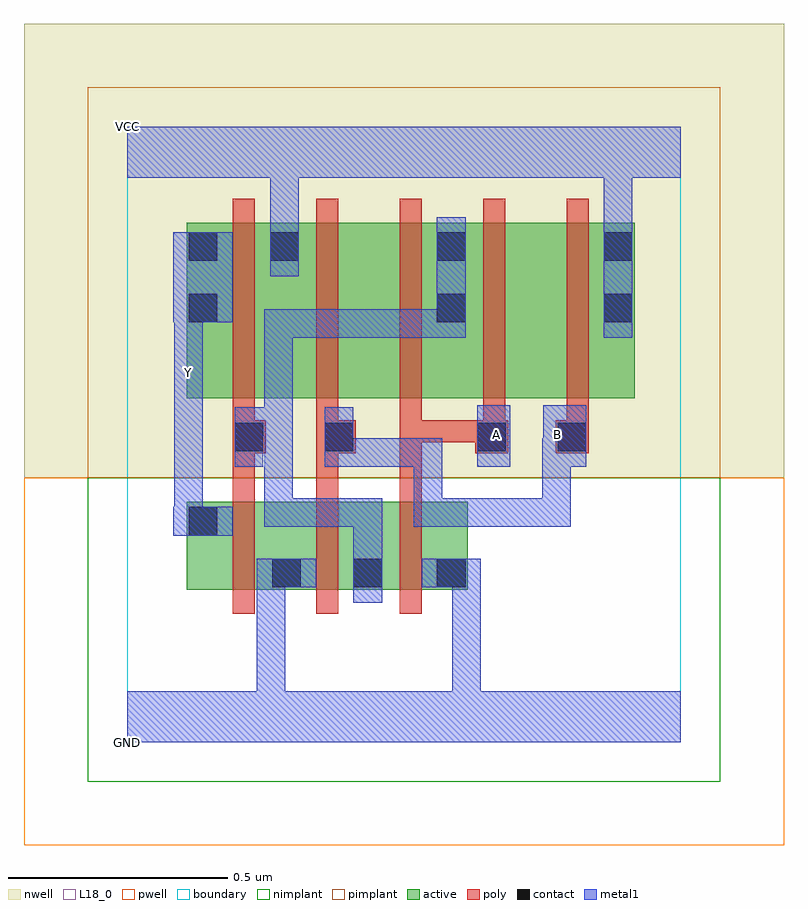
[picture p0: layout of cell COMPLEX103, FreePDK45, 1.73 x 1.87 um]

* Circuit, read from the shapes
.subckt COMPLEX103 A B GND VCC Y
M1 GND n1 Y VSUBS nfet w=0.2u l=0.05u
M2 n1 B GND VSUBS nfet w=0.2u l=0.05u
M3 GND A n1 VSUBS nfet w=0.2u l=0.05u
M4 VCC n1 Y n2 pfet w=0.4u l=0.05u
M5 n3 B VCC n2 pfet w=0.4u l=0.05u
M6 n1 A n3 n2 pfet w=0.4u l=0.05u
M7 n4 A n1 n2 pfet w=0.4u l=0.05u
M8 VCC B n4 n2 pfet w=0.4u l=0.05u
.ends

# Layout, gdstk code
import gdstk
lib = gdstk.Library(unit=1e-6, precision=1e-09)
def R(c, l, rs):  # rectangles x0, y0, x1, y1
    for r in rs: c.add(gdstk.rectangle(r[:2], r[2:], *l))
def A(c, l, x, y, w, h, nx, ny, dx, dy):  # array of equal rectangles
    R(c, l, [(x+i*dx, y+j*dy, x+i*dx+w, y+j*dy+h) for i in range(nx) for j in range(ny)])
active = (1, 0)
pwell = (2, 0)
nwell = (3, 0)
nimplant = (4, 0)
pimplant = (5, 0)
poly = (9, 0)
contact = (10, 0)
metal1 = (11, 0)
L18_0 = (18, 0)
boundary = (235, 0)

complex103 = lib.new_cell('COMPLEX103')
R(complex103, active, [(0.135,0.347,0.21,0.547), (0.135,0.347,0.4,0.547), (0.325,0.347,0.4,0.547), (0.325,0.347,0.585,0.547), (0.51,0.347,0.585,0.547), (0.51,0.347,0.775,0.547), (0.7,0.347,0.775,0.547), (0.135,0.782,0.21,1.182), (0.135,0.782,0.395,1.182), (0.32,0.782,0.55,1.182), (0.55,0.782,0.775,1.182), (0.7,0.782,0.93,1.182), (0.93,0.782,1.155,1.182), (1.08,0.782,1.155,1.182), (0.32,0.907,0.395,1.165), (0.7,0.907,0.775,1.182)])
R(complex103, pwell, [(-0.235,-0.235,1.495,0.602)])
R(complex103, nwell, [(-0.235,0.602,1.495,1.635)])
R(complex103, nimplant, [(-0.09,-0.09,1.35,0.602)])
R(complex103, pimplant, [(-0.09,0.602,1.35,1.49)])
A(complex103, poly, 0.24, 0.292, 0.05, 0.31, 3, 1, 0.19, 0)
A(complex103, poly, 0.24, 0.682, 0.05, 0.095, 5, 1, 0.19, 0)
A(complex103, poly, 0.24, 0.727, 0.05, 0.51, 5, 1, 0.19, 0)
R(complex103, poly, [(0.24,0.552,0.29,0.707), (0.43,0.552,0.48,0.707), (0.62,0.552,0.67,0.732), (0.24,0.657,0.315,0.732), (0.43,0.657,0.52,0.732), (0.792,0.657,0.867,0.732), (0.975,0.657,1.05,0.732), (0.62,0.682,0.842,0.732), (0.62,0.682,0.67,0.732), (0.62,0.682,0.67,0.732), (0.62,0.682,0.67,0.732)])
A(complex103, contact, 0.325, 1.095, 0.065, 0.065, 3, 1, 0.38, 0)
R(complex103, contact, [(0.33,0.352,0.395,0.417), (0.515,0.352,0.58,0.417), (0.705,0.352,0.77,0.417), (0.14,0.47,0.205,0.535), (0.245,0.662,0.31,0.727), (0.45,0.662,0.515,0.727), (0.797,0.662,0.862,0.727), (0.98,0.662,1.045,0.727), (0.14,0.955,0.205,1.02), (0.705,0.955,0.77,1.02), (1.085,0.955,1.15,1.02), (0.14,1.095,0.205,1.16)])
R(complex103, metal1, [(0,0,1.26,0.115), (0.295,0.05,0.36,0.115), (0.295,0.05,0.36,0.115), (0.295,0.05,0.36,0.115), (0.295,0.05,0.36,0.115), (0.295,0.05,0.36,0.417), (0.74,0.05,0.805,0.417), (0.515,0.317,0.58,0.452), (0.295,0.352,0.43,0.417), (0.67,0.352,0.805,0.417), (0.74,0.352,0.805,0.417), (0.74,0.352,0.805,0.417), (0.74,0.352,0.805,0.417), (0.74,0.352,0.805,0.417), (0.515,0.387,0.58,0.452), (0.515,0.387,0.58,0.555), (0.105,0.47,0.24,0.535), (0.107,0.47,0.172,0.837), (0.312,0.49,0.377,0.555), (0.312,0.49,0.58,0.555), (0.312,0.49,0.377,0.762), (0.652,0.49,0.717,0.555), (0.652,0.49,0.717,0.692), (0.652,0.49,0.855,0.555), (0.79,0.49,0.855,0.555), (0.79,0.49,1.01,0.555), (0.945,0.49,1.01,0.555), (0.945,0.49,1.01,0.692), (0.245,0.627,0.31,0.762), (0.45,0.627,0.515,0.692), (0.45,0.627,0.515,0.692), (0.45,0.627,0.717,0.692), (0.45,0.627,0.515,0.762), (0.652,0.627,0.717,0.692), (0.652,0.627,0.717,0.692), (0.652,0.627,0.717,0.692), (0.797,0.627,0.872,0.767), (0.945,0.627,1.01,0.692), (0.945,0.627,1.012,0.692), (0.947,0.627,1.045,0.767), (0.245,0.697,0.377,0.762), (0.312,0.697,0.377,0.762), (0.312,0.697,0.377,0.985), (0.107,0.772,0.172,0.907), (0.107,0.842,0.172,1.02), (0.312,0.92,0.377,0.985), (0.312,0.92,0.515,0.985), (0.45,0.92,0.515,0.985), (0.45,0.92,0.515,0.985), (0.45,0.92,0.515,0.985), (0.45,0.92,0.717,0.985), (0.652,0.92,0.717,0.985), (0.652,0.92,0.77,0.985), (0.705,0.92,0.77,1.195), (1.085,0.92,1.15,1.195), (0.105,0.955,0.24,1.16), (0.325,1.06,0.39,1.195), (0.325,1.13,0.39,1.195), (0.325,1.13,0.39,1.195), (0.325,1.13,0.39,1.35), (1.085,1.13,1.15,1.195), (1.085,1.13,1.15,1.195), (1.085,1.13,1.15,1.35), (0,1.285,1.26,1.4)])
R(complex103, L18_0, [(0,0,1.26,0.115), (0.295,0.05,0.36,0.417), (0.295,0.05,0.36,0.115), (0.295,0.05,0.36,0.115), (0.295,0.05,0.36,0.115), (0.295,0.05,0.36,0.115), (0.74,0.05,0.805,0.417), (0.295,0.352,0.43,0.417), (0.67,0.352,0.805,0.417), (0.74,0.352,0.805,0.417), (0.74,0.352,0.805,0.417), (0.74,0.352,0.805,0.417), (0.74,0.352,0.805,0.417), (0.105,0.47,0.24,0.535), (0.107,0.47,0.172,0.837), (0.652,0.49,0.717,0.555), (0.652,0.49,0.717,0.692), (0.652,0.49,0.855,0.555), (0.79,0.49,0.855,0.555), (0.79,0.49,1.01,0.555), (0.945,0.49,1.01,0.555), (0.945,0.49,1.01,0.692), (0.45,0.627,0.515,0.762), (0.45,0.627,0.515,0.692), (0.45,0.627,0.515,0.692), (0.45,0.627,0.717,0.692), (0.652,0.627,0.717,0.692), (0.652,0.627,0.717,0.692), (0.652,0.627,0.717,0.692), (0.797,0.627,0.872,0.767), (0.945,0.627,1.01,0.692), (0.945,0.627,1.012,0.692), (0.947,0.627,1.045,0.767), (0.807,0.667,0.872,0.732), (0.947,0.667,1.012,0.732), (0.107,0.772,0.172,0.907), (0.107,0.807,0.172,0.872), (0.107,0.842,0.172,1.02), (1.085,0.92,1.15,1.195), (0.105,0.955,0.24,1.16), (0.325,1.06,0.39,1.195), (0.325,1.13,0.39,1.195), (0.325,1.13,0.39,1.195), (0.325,1.13,0.39,1.35), (1.085,1.13,1.15,1.195), (1.085,1.13,1.15,1.195), (1.085,1.13,1.15,1.35), (0,1.285,1.26,1.4)])
R(complex103, boundary, [(0,0,1.26,1.4)])
complex103.add(gdstk.Label('A', (0.84,0.7), layer=11, texttype=0))
complex103.add(gdstk.Label('B', (0.98,0.7), layer=11, texttype=0))
complex103.add(gdstk.Label('Y', (0.14,0.84), layer=11, texttype=0))
complex103.add(gdstk.Label('VCC', (0,1.4), layer=11, texttype=0))
complex103.add(gdstk.Label('GND', (0,0), layer=11, texttype=0))

lib.write_gds('COMPLEX103.gds')
